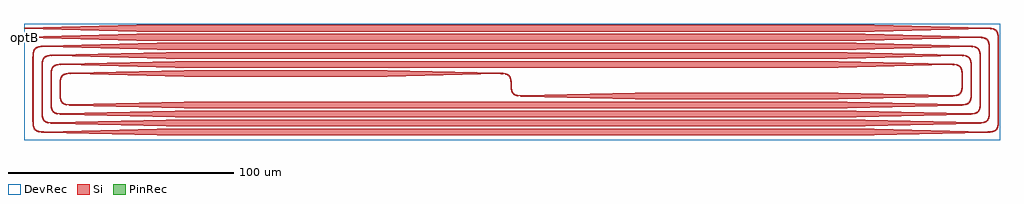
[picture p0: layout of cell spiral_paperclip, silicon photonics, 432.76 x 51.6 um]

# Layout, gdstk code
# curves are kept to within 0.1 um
import gdstk
lib = gdstk.Library(unit=1e-6, precision=1e-09)
def R(c, l, rs):  # rectangles x0, y0, x1, y1
    for r in rs: c.add(gdstk.rectangle(r[:2], r[2:], *l))
def P(c, l, *ps):  # polygons
    for p in ps: c.add(gdstk.Polygon(p, *l))
Si = (1, 0)
PinRec = (1, 10)
DevRec = (68, 0)

spiral_paperclip = lib.new_cell('spiral_paperclip')
R(spiral_paperclip, Si, [(-157,-22.5,161,-19.5), (-153,-18.5,157,-15.5), (-149,-14.5,153,-11.5), (-145,-10.5,149,-7.5), (55,-6.5,145,-3.5), (-145,3.5,-55,6.5), (-149,7.5,145,10.5), (-153,11.5,149,14.5), (-157,15.5,153,18.5), (-166,19.5,157,22.5), (-166,23.5,161,26.5)])
P(spiral_paperclip, Si, [(161,-22.5),(161,-19.5),(211,-20.75),(211,-21.25)],
  [(157,-18.5),(157,-15.5),(207,-16.75),(207,-17.25)],
  [(153,-14.5),(153,-11.5),(203,-12.75),(203,-13.25)],
  [(149,-10.5),(149,-7.5),(199,-8.75),(199,-9.25)],
  [(145,-6.5),(145,-3.5),(195,-4.75),(195,-5.25)],
  [(-55,3.5),(-55,6.5),(-5,5.25),(-5,4.75)],
  [(145,7.5),(145,10.5),(195,9.25),(195,8.75)],
  [(149,11.5),(149,14.5),(199,13.25),(199,12.75)],
  [(153,15.5),(153,18.5),(203,17.25),(203,16.75)],
  [(157,19.5),(157,22.5),(207,21.25),(207,20.75)],
  [(161,23.5),(161,26.5),(211,25.25),(211,24.75)],
  [(-157,-22.5),(-207,-21.25),(-207,-20.75),(-157,-19.5)],
  [(-153,-18.5),(-203,-17.25),(-203,-16.75),(-153,-15.5)],
  [(-149,-14.5),(-199,-13.25),(-199,-12.75),(-149,-11.5)],
  [(-145,-10.5),(-195,-9.25),(-195,-8.75),(-145,-7.5)],
  [(55,-6.5),(5,-5.25),(5,-4.75),(55,-3.5)],
  [(-145,3.5),(-195,4.75),(-195,5.25),(-145,6.5)],
  [(-149,7.5),(-199,8.75),(-199,9.25),(-149,10.5)],
  [(-153,11.5),(-203,12.75),(-203,13.25),(-153,14.5)],
  [(-157,15.5),(-207,16.75),(-207,17.25),(-157,18.5)],
  [(-166,19.5),(-216,20.75),(-216,21.25),(-166,22.5)],
  [(-166,23.5),(-216,24.75),(-216,25.25),(-166,26.5)],
  [(207,-17.25),(206.999,-16.75),(208.386,-16.696),(209.48,-16.521),(210.304,-16.209),(210.897,-15.746),(211.314,-15.093),(211.555,-14.341),(211.712,-13.206),(211.75,-12),(211.75,16),(211.637,17.89),(211.485,18.613),(211.262,19.201),(210.965,19.668),(210.582,20.031),(209.981,20.361),(209.196,20.585),(208.206,20.712),(207,20.75),(207,21.25),(208.431,21.195),(209.603,21.006),(210.543,20.648),(211.177,20.177),(211.647,19.544),(212.005,18.604),(212.194,17.432),(212.25,16.003),(212.25,-12),(212.132,-13.963),(211.923,-14.893),(211.648,-15.543),(211.267,-16.082),(210.772,-16.509),(210.168,-16.824),(209.293,-17.074),(208.243,-17.209)],
  [(199,-9.25),(198.999,-8.75),(200.386,-8.696),(201.48,-8.521),(202.304,-8.209),(202.823,-7.823),(203.21,-7.303),(203.486,-6.612),(203.66,-5.728),(203.741,-4.631),(203.748,8.217),(203.696,9.386),(203.554,10.342),(203.36,10.982),(203.093,11.494),(202.746,11.897),(202.303,12.21),(201.741,12.447),(201.044,12.613),(199,12.75),(199,13.25),(199.647,13.241),(201.449,13.043),(202.167,12.825),(202.66,12.581),(203.177,12.177),(203.509,11.772),(203.769,11.298),(204.005,10.604),(204.176,9.614),(204.245,8.438),(204.241,-4.647),(204.132,-5.963),(203.923,-6.893),(203.581,-7.66),(203.083,-8.266),(202.423,-8.71),(201.604,-9.005),(200.432,-9.194)],
  [(-203,-17.25),(-204.431,-17.195),(-205.603,-17.006),(-206.543,-16.648),(-207.177,-16.177),(-207.647,-15.544),(-208.005,-14.604),(-208.194,-13.432),(-208.25,-12.003),(-208.249,8.221),(-208.195,9.431),(-208.043,10.449),(-207.825,11.167),(-207.51,11.771),(-207.083,12.266),(-206.544,12.647),(-205.894,12.922),(-205.131,13.104),(-203.003,13.25),(-202.999,12.75),(-204.207,12.711),(-205.197,12.584),(-205.865,12.405),(-206.494,12.093),(-206.897,11.746),(-207.21,11.303),(-207.585,10.196),(-207.749,8.217),(-207.75,-12),(-207.711,-13.207),(-207.554,-14.342),(-207.313,-15.094),(-206.896,-15.747),(-206.303,-16.21),(-205.479,-16.522),(-204.385,-16.697),(-203,-16.75)],
  [(-195,-9.25),(-196.242,-9.21),(-197.292,-9.075),(-198.167,-8.825),(-198.771,-8.51),(-199.266,-8.083),(-199.71,-7.423),(-200.005,-6.604),(-200.176,-5.614),(-200.248,-4.223),(-200.241,0.647),(-200.132,1.963),(-199.923,2.893),(-199.433,3.88),(-198.772,4.509),(-197.894,4.922),(-196.614,5.176),(-195,5.25),(-194.999,4.75),(-196.89,4.637),(-198.094,4.313),(-198.583,4.03),(-198.966,3.667),(-199.263,3.2),(-199.486,2.612),(-199.66,1.728),(-199.746,0.427),(-199.748,-4.217),(-199.678,-5.56),(-199.554,-6.342),(-199.313,-7.094),(-199.03,-7.583),(-198.667,-7.966),(-198.093,-8.314),(-197.341,-8.555),(-196.206,-8.712),(-195,-8.75)],
  [(4.997,-5.25),(3.568,-5.194),(2.396,-5.005),(1.456,-4.647),(0.823,-4.177),(0.289,-3.422),(-0.043,-2.449),(-0.21,-1.242),(-0.363,1.89),(-0.554,2.742),(-0.848,3.401),(-1.418,4.031),(-2.259,4.447),(-3.441,4.679),(-5,4.75),(-5,5.25),(-3.569,5.195),(-2.397,5.006),(-1.457,4.648),(-0.823,4.177),(-0.29,3.423),(0.042,2.45),(0.209,1.243),(0.362,-1.889),(0.553,-2.741),(0.847,-3.4),(1.417,-4.03),(2.258,-4.446),(3.44,-4.678),(5.001,-4.75)],
  [(211,-21.25),(211,-20.75),(212.385,-20.697),(213.479,-20.522),(214.303,-20.21),(214.896,-19.747),(215.313,-19.094),(215.554,-18.342),(215.711,-17.207),(215.75,-16),(215.75,20),(215.66,21.728),(215.522,22.479),(215.314,23.093),(214.966,23.667),(214.583,24.03),(213.982,24.36),(213.197,24.584),(212.207,24.711),(210.999,24.75),(211.003,25.25),(212.243,25.209),(213.293,25.074),(214.168,24.824),(214.772,24.509),(215.267,24.082),(215.711,23.422),(215.966,22.75),(216.156,21.79),(216.25,20),(216.25,-16.003),(216.194,-17.432),(216.005,-18.604),(215.647,-19.544),(215.177,-20.177),(214.543,-20.648),(213.603,-21.006),(212.431,-21.195)],
  [(195,-5.25),(195,-4.75),(196.206,-4.712),(197.341,-4.555),(198.093,-4.314),(198.667,-3.966),(199.03,-3.583),(199.313,-3.094),(199.554,-2.342),(199.678,-1.56),(199.748,-0.217),(199.746,4.427),(199.66,5.728),(199.486,6.612),(199.263,7.2),(198.966,7.667),(198.583,8.03),(198.094,8.313),(196.89,8.637),(194.999,8.75),(195,9.25),(196.614,9.176),(197.894,8.922),(198.772,8.509),(199.433,7.88),(199.923,6.893),(200.132,5.963),(200.241,4.647),(200.248,-0.223),(200.176,-1.614),(200.005,-2.604),(199.71,-3.423),(199.266,-4.083),(198.771,-4.51),(198.167,-4.825),(197.292,-5.075),(196.242,-5.21)],
  [(203,-13.25),(203,-12.75),(204.385,-12.697),(205.479,-12.522),(206.303,-12.21),(206.896,-11.747),(207.313,-11.094),(207.554,-10.342),(207.711,-9.207),(207.75,-8),(207.749,12.217),(207.585,14.196),(207.21,15.303),(206.897,15.746),(206.494,16.093),(205.865,16.405),(205.197,16.584),(204.207,16.711),(202.999,16.75),(203.003,17.25),(205.131,17.104),(205.894,16.922),(206.544,16.647),(207.083,16.266),(207.51,15.771),(207.825,15.167),(208.043,14.449),(208.195,13.431),(208.249,12.221),(208.25,-8.003),(208.194,-9.432),(208.005,-10.604),(207.647,-11.544),(207.177,-12.177),(206.543,-12.648),(205.603,-13.006),(204.431,-13.195)],
  [(-207.003,-21.25),(-208.243,-21.209),(-209.293,-21.074),(-210.168,-20.824),(-210.772,-20.509),(-211.267,-20.082),(-211.648,-19.543),(-211.923,-18.893),(-212.132,-17.963),(-212.25,-16),(-212.25,12.003),(-212.194,13.432),(-212.005,14.604),(-211.647,15.544),(-211.177,16.177),(-210.543,16.648),(-209.603,17.006),(-208.431,17.195),(-207,17.25),(-207,16.75),(-208.385,16.697),(-209.479,16.522),(-210.303,16.21),(-210.896,15.747),(-211.313,15.094),(-211.554,14.342),(-211.711,13.207),(-211.75,12),(-211.75,-16),(-211.638,-17.889),(-211.486,-18.612),(-211.263,-19.2),(-210.966,-19.667),(-210.583,-20.03),(-209.982,-20.36),(-209.197,-20.584),(-208.207,-20.711),(-206.999,-20.75)],
  [(-199.003,-13.25),(-200.432,-13.194),(-201.604,-13.005),(-202.423,-12.71),(-203.083,-12.266),(-203.581,-11.66),(-203.923,-10.893),(-204.132,-9.963),(-204.241,-8.647),(-204.245,4.438),(-204.176,5.614),(-204.005,6.604),(-203.769,7.298),(-203.509,7.772),(-203.177,8.177),(-202.66,8.581),(-202.167,8.825),(-201.449,9.043),(-199.647,9.241),(-199,9.25),(-199,8.75),(-201.044,8.613),(-201.741,8.447),(-202.303,8.21),(-202.746,7.897),(-203.093,7.494),(-203.36,6.982),(-203.554,6.342),(-203.696,5.386),(-203.748,4.217),(-203.741,-8.631),(-203.66,-9.728),(-203.486,-10.612),(-203.21,-11.303),(-202.823,-11.823),(-202.304,-12.209),(-201.48,-12.521),(-200.386,-12.696),(-198.999,-12.75)])
R(spiral_paperclip, DevRec, [(-216,-24.6,216.75,27)])
spiral_paperclip.add(gdstk.FlexPath([(-215.99,21),(-216.01,21)], 0.5, ends="flush", simple_path=True, layer=1, datatype=10))  # PinRec
spiral_paperclip.add(gdstk.FlexPath([(-215.99,25),(-216.01,25)], 0.5, ends="flush", simple_path=True, layer=1, datatype=10))  # PinRec
spiral_paperclip.add(gdstk.Label('optB', (-216,21), layer=1, texttype=10))
spiral_paperclip.add(gdstk.Label('optA', (-216,25), layer=1, texttype=10))

lib.write_gds('spiral_paperclip.gds')
